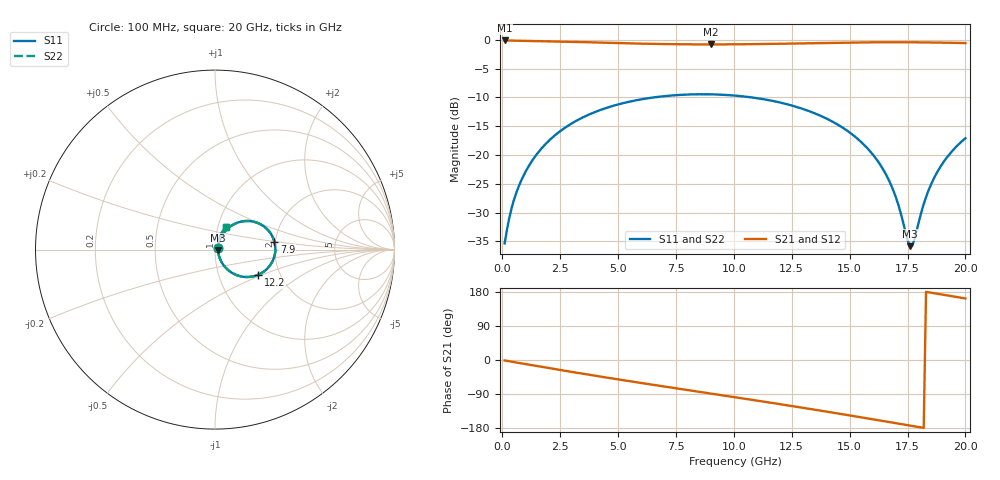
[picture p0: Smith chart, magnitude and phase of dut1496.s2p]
! Touchstone file exported from HFSS 2026.1.0
!  File:  C:/ffzhzh/LocalFiles/Ansys_Project_Files/temp_train_TSV_RDL_1496_1783364966_46376.aedt
!  Generated:  03:17:47 AM Jul  7, 2026
!  Design:  TSV_RDL
!  Project:  temp_train_TSV_RDL_1496_1783364966_46376
! Variables:
!  h_bsmrdl = 2.98um
!  h_ox = 20um
!  h_rdl = 5um
!  h_sub = 58.78um
!  h_tmrdl = 4.26um
!  h_tsv = 58.78um
!  h_via = 3um
!  l_bsmrdl = 308.11um
!  l_sub = 3431.86um
!  l_tmrdl = 496.74um
!  m_sub = 200um
!  pitch = 33.54um
!  r_tsv = 8.85um
!  s_tmrdl = 10um
!  w_bsmrdl = 20.25um
!  w_sub = 500um
!  w_tmrdl = 19.94um
!  x_tsv_center1 = 506.71um
!  x_tsv_center2 = 835.07um
!  x_tsv_center3 = 1351.75um
!  x_tsv_center4 = 1680.11um
!  x_tsv_center5 = 2196.79um
!  x_tsv_center6 = 2525.15um
# GHz S MA R 50.000000
! Terminal data exported
! Port[1] = TM_RDL1_1_T1
! Port[2] = TM_RDL5_1_T1
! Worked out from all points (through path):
!   200 points, 100 MHz to 20 GHz, reference 50 ohm
!   highest |S21| = -0.13 dB at 100 MHz (marker M1); lowest = -0.8 dB at 9 GHz (marker M2)
!   group delay of S21, straight-line fit = 26.9 ps
!   lowest |S11| = -35.8 dB at 17.6 GHz (marker M3), VSWR 1.03, Z = 51.6 - j0.181 ohm
!   |S11| at or under -10 dB: start of sweep to 6.563 GHz; 10.74 GHz to end of sweep
!   |S22| runs from -35.8 to -9.5 dB; largest |S21 - S12| = 2.3e-14
!   S11 on the Smith chart (normalised r, x): 100 MHz: 1.03, +0.02; 7.9 GHz: 1.98, +0.20; 12.2 GHz: 1.55, -0.47; 20 GHz: 1.10, +0.28
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0.1  0.01711 27.1  0.9849 -1.1  0.9849 -1.1  0.01711 27.1
! Gamma 0 0 0 0
! Port Impedance 50 0 50 0
0.3  0.02838 50.3  0.9829 -3.4  0.9829 -3.4  0.02838 50.3
0.5  0.04057 57.8  0.9811 -5.5  0.9811 -5.5  0.04057 57.8
1.2  0.08368 63.1  0.9762 -12.8  0.9762 -12.8  0.08368 63.1
2.2  0.1439 57.9  0.9675 -23.2  0.9675 -23.2  0.1439 57.9
3.5  0.2129 47.1  0.9524 -36.5  0.9524 -36.5  0.2129 47.1
6.8  0.3206 17.4  0.9176 -68.2  0.9176 -68.2  0.3206 17.5
7.9  0.3338 7.7  0.9119 -78.4  0.9119 -78.4  0.3338 7.7
9  0.3358 -1.9  0.91 -88.5  0.91 -88.5  0.3358 -1.9
10.1  0.3267 -11.6  0.9119 -98.7  0.9119 -98.7  0.3267 -11.6
12.2  0.2787 -30.2  0.9237 -118.5  0.9237 -118.5  0.2787 -30.2
13.4  0.2339 -40.8  0.9329 -130.2  0.9329 -130.2  0.2338 -40.8
15.4  0.135 -57.4  0.9463 -150.3  0.9463 -150.3  0.135 -57.4
16.1  0.09521 -61.5  0.949 -157.5  0.949 -157.5  0.0952 -61.5
16.7  0.06012 -61.7  0.9501 -163.7  0.9501 -163.7  0.06011 -61.7
17.1  0.03716 -55.7  0.9502 -167.8  0.9502 -167.8  0.03716 -55.7
17.6  0.01619 -6.2  0.9495 -173.0  0.9495 -173.0  0.01618 -6.2
17.7  0.01628 14.6  0.9492 -174.0  0.9492 -174.0  0.01627 14.6
18.2  0.03752 62.8  0.9475 -179.2  0.9475 -179.2  0.03751 62.8
18.7  0.06617 69.0  0.9449 175.7  0.9449 175.7  0.06615 69.0
19.3  0.1008 67.9  0.9408 169.5  0.9408 169.5  0.1008 67.9
20  0.1397 63.5  0.9349 162.4  0.9349 162.4  0.1397 63.6
